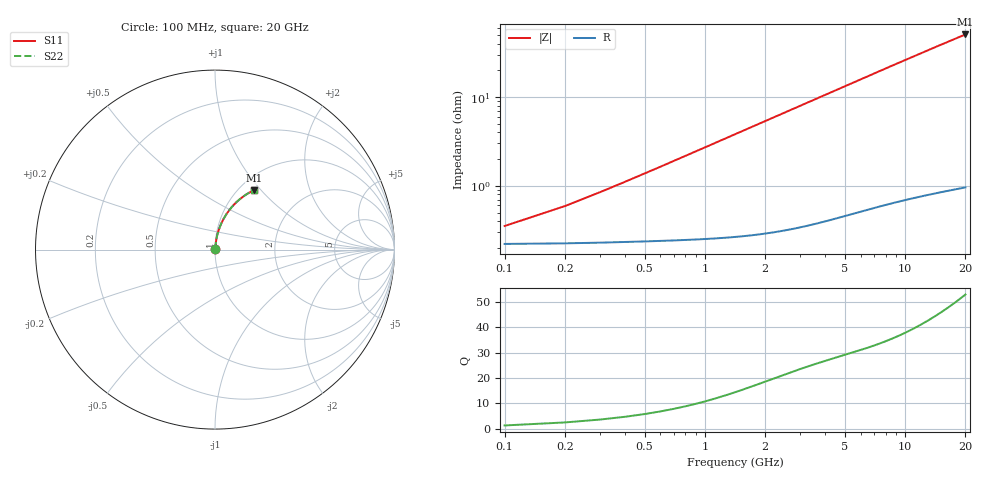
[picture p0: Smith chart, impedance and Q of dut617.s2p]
! Touchstone file exported from HFSS 2026.1.0
!  File:  C:/ffzhzh/LocalFiles/Ansys_Project_Files/temp_train_TMRDL_617_1783008906_4048.aedt
!  Generated:  12:16:45 AM Jul  3, 2026
!  Design:  TMRDL
!  Project:  temp_train_TMRDL_617_1783008906_4048
! Variables:
!  h_bsmrdl = 2um
!  h_ox = 20um
!  h_rdl = 5um
!  h_sub = 80um
!  h_tmrdl = 5.59um
!  h_tsv = 80um
!  h_via = 3um
!  l_bsmrdl = 300um
!  l_sub = 769.5um
!  l_tmrdl = 369.5um
!  m_sub = 200um
!  pitch = 56.66um
!  r_tsv = 6um
!  s_tmrdl = 10um
!  w_bsmrdl = 18um
!  w_sub = 500um
!  w_tmrdl = 10.89um
!  x_tsv_center1 = 374.945um
!  x_tsv_center2 = 692.945um
!  x_tsv_center3 = 1073.335um
!  x_tsv_center4 = 1391.335um
!  x_tsv_center5 = 1771.725um
!  x_tsv_center6 = 2089.725um
# GHz S MA R 50.000000
! Terminal data exported
! Port[1] = TM_RDL1_1_T1
! Port[2] = TM_RDL1_1_T2
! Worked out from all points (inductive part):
!   200 points, 100 MHz to 20 GHz, reference 50 ohm
!   read as one part in series: L = 432 pH near 300 MHz
!   highest Q = 53 at 20 GHz (marker M1), where L = 404 pH
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0.1  0.003232 46.8  0.9978 -0.2  0.9978 -0.2  0.003232 46.8
! Gamma 0 0 0 0
! Port Impedance 50 0 50 0
0.2  0.005212 64.2  0.9977 -0.4  0.9977 -0.4  0.005212 64.2
0.3  0.007394 71.5  0.9977 -0.5  0.9977 -0.5  0.007394 71.5
0.4  0.009631 75.4  0.9976 -0.7  0.9976 -0.7  0.009631 75.4
0.5  0.01189 77.7  0.9976 -0.9  0.9976 -0.9  0.01189 77.7
0.7  0.01644 80.3  0.9975 -1.2  0.9975 -1.2  0.01644 80.3
0.8  0.01872 81.1  0.9974 -1.4  0.9974 -1.4  0.01872 81.1
1  0.02329 82.1  0.9972 -1.8  0.9972 -1.8  0.02329 82.1
1.2  0.02786 82.6  0.997 -2.1  0.997 -2.1  0.02786 82.6
1.4  0.03243 82.9  0.9968 -2.5  0.9968 -2.5  0.03243 82.9
1.7  0.03928 83.0  0.9965 -3.0  0.9965 -3.0  0.03928 83.0
2  0.04612 82.9  0.9961 -3.5  0.9961 -3.5  0.04612 82.9
2.7  0.06197 82.3  0.9949 -4.7  0.9949 -4.7  0.06197 82.3
3.5  0.0799 81.3  0.9931 -6.1  0.9931 -6.1  0.0799 81.3
4.2  0.09542 80.3  0.9914 -7.3  0.9914 -7.3  0.09542 80.3
5  0.1129 79.1  0.9891 -8.6  0.9891 -8.6  0.1129 79.1
6.8  0.1516 76.3  0.983 -11.6  0.983 -11.6  0.1516 76.3
8.3  0.1829 74.0  0.9771 -14.1  0.9771 -14.1  0.1829 74.0
10.1  0.2194 71.2  0.9689 -17.0  0.9689 -17.0  0.2194 71.2
13.4  0.283 66.2  0.9515 -22.2  0.9515 -22.2  0.283 66.2
16.7  0.3419 61.4  0.9315 -27.2  0.9315 -27.2  0.3419 61.4
20  0.3956 56.8  0.9097 -32.0  0.9097 -32.0  0.3956 56.8
